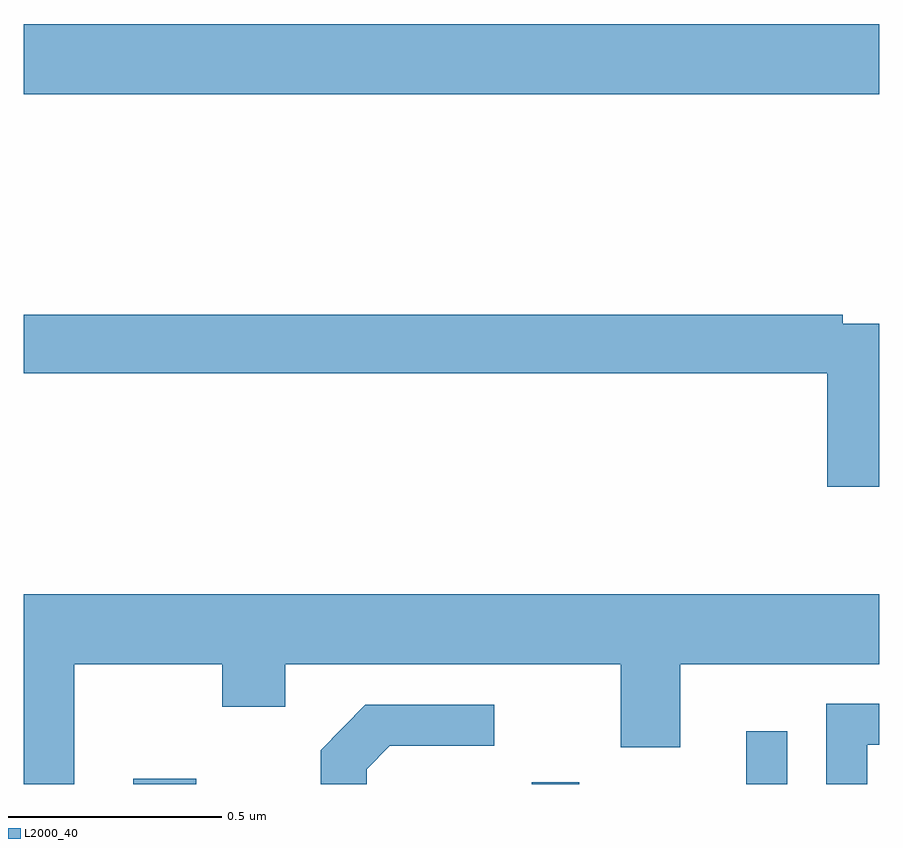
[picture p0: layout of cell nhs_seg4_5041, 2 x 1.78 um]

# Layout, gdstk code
import gdstk
lib = gdstk.Library(unit=1e-6, precision=1e-09)
def R(c, l, rs):  # rectangles x0, y0, x1, y1
    for r in rs: c.add(gdstk.rectangle(r[:2], r[2:], *l))
def P(c, l, *ps):  # polygons
    for p in ps: c.add(gdstk.Polygon(p, *l))
L2000_40 = (2000, 40)

nhs_seg4_5041 = lib.new_cell('nhs_seg4_5041')
R(nhs_seg4_5041, L2000_40, [(173.256,769.9,173.404,769.912), (174.187,769.9,174.299,769.904), (174.689,769.9,174.785,770.023), (173,771.512,175,771.676)])
P(nhs_seg4_5041, L2000_40, [(175,770.976),(174.914,770.976),(174.914,770.996),(173,770.996),(173,770.86),(174.878,770.86),(174.878,770.595),(175,770.595)],
  [(173.119,770.18),(173.464,770.18),(173.464,770.081),(173.611,770.081),(173.611,770.18),(174.395,770.18),(174.395,769.986),(174.535,769.986),(174.535,770.18),(175,770.18),(175,770.344),(173,770.344),(173,769.9),(173.119,769.9)],
  [(174.972,769.992),(175,769.992),(175,770.088),(174.876,770.088),(174.876,769.9),(174.972,769.9)],
  [(173.802,769.935),(173.856,769.989),(174.1,769.989),(174.1,770.085),(173.799,770.085),(173.694,769.979),(173.694,769.9),(173.802,769.9)])

lib.write_gds('nhs_seg4_5041.gds')
